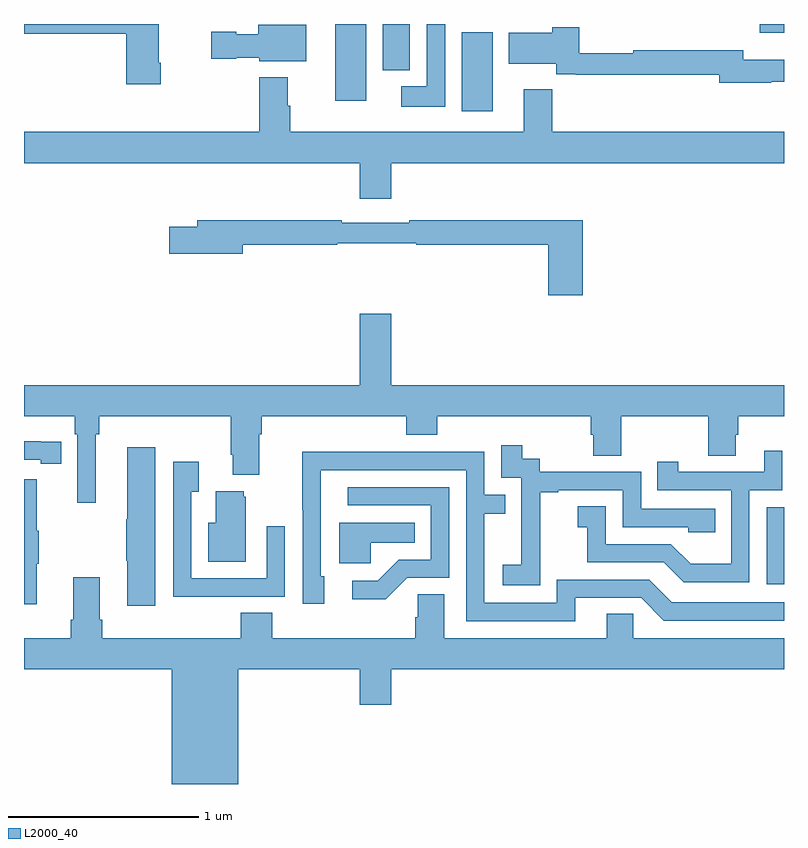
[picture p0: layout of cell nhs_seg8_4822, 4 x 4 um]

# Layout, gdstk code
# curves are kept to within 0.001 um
import gdstk
lib = gdstk.Library(unit=1e-6, precision=1e-09)
def R(c, l, rs):  # rectangles x0, y0, x1, y1
    for r in rs: c.add(gdstk.rectangle(r[:2], r[2:], *l))
def P(c, l, *ps):  # polygons
    for p in ps: c.add(gdstk.Polygon(p, *l))
L2000_40 = (2000, 40)

nhs_seg8_4822 = lib.new_cell('nhs_seg8_4822')
R(nhs_seg8_4822, L2000_40, [(406.908,1112.952,407,1113.357), (405.305,1115.442,405.466,1115.857), (404.639,1115.496,404.8,1115.9), (404.888,1115.657,405.031,1115.9), (406.872,1115.855,407,1115.9)])
P(nhs_seg8_4822, L2000_40, [(403.721,1115.695),(403.708,1115.695),(403.708,1115.9),(403,1115.9),(403,1115.848),(403.538,1115.848),(403.538,1115.583),(403.721,1115.583)],
  [(405.216,1115.9),(405.12,1115.9),(405.12,1115.572),(404.985,1115.572),(404.985,1115.465),(405.216,1115.465)],
  [(404.485,1115.896),(404.234,1115.896),(404.234,1115.845),(404.118,1115.845),(404.118,1115.858),(403.986,1115.858),(403.986,1115.716),(404.118,1115.716),(404.118,1115.723),(404.238,1115.723),(404.238,1115.705),(404.485,1115.705)],
  [(406.934,1115.595),(407,1115.595),(407,1115.713),(406.786,1115.713),(406.786,1115.762),(406.206,1115.762),(406.206,1115.745),(405.923,1115.745),(405.923,1115.884),(405.781,1115.884),(405.781,1115.854),(405.551,1115.854),(405.551,1115.69),(405.801,1115.69),(405.801,1115.635),(405.904,1115.635),(405.904,1115.634),(406.658,1115.634),(406.658,1115.591),(406.934,1115.591)],
  [(404.932,1115.168),(407,1115.168),(407,1115.332),(405.781,1115.332),(405.781,1115.557),(405.629,1115.557),(405.629,1115.332),(404.402,1115.332),(404.402,1115.471),(404.389,1115.471),(404.389,1115.62),(404.237,1115.62),(404.237,1115.332),(403,1115.332),(403,1115.168),(404.768,1115.168),(404.768,1114.98),(404.932,1114.98)],
  [(405.941,1114.867),(405.028,1114.867),(405.028,1114.854),(404.672,1114.854),(404.672,1114.867),(403.913,1114.867),(403.913,1114.833),(403.764,1114.833),(403.764,1114.691),(404.152,1114.691),(404.152,1114.738),(404.648,1114.738),(404.648,1114.746),(405.065,1114.746),(405.065,1114.738),(405.758,1114.738),(405.758,1114.473),(405.941,1114.473)],
  [(403.378,1113.74),(403.397,1113.74),(403.397,1113.836),(404.087,1113.836),(404.087,1113.634),(404.099,1113.634),(404.099,1113.527),(404.239,1113.527),(404.239,1113.74),(404.252,1113.74),(404.252,1113.836),(405.011,1113.836),(405.011,1113.737),(405.176,1113.737),(405.176,1113.836),(405.983,1113.836),(405.983,1113.738),(405.995,1113.738),(405.995,1113.628),(406.143,1113.628),(406.143,1113.836),(406.6,1113.836),(406.6,1113.628),(406.747,1113.628),(406.747,1113.738),(406.76,1113.738),(406.76,1113.836),(407,1113.836),(407,1114),(404.932,1114),(404.932,1114.375),(404.768,1114.375),(404.768,1114),(403,1114),(403,1113.836),(403.268,1113.836),(403.268,1113.74),(403.281,1113.74),(403.281,1113.381),(403.378,1113.381)],
  [(403.196,1113.702),(403.088,1113.702),(403.088,1113.703),(403,1113.703),(403,1113.606),(403.088,1113.606),(403.088,1113.586),(403.196,1113.586)],
  [(405.717,1113.151),(405.716,1113.151),(405.716,1113.435),(405.811,1113.435),(405.811,1113.447),(406.152,1113.447),(406.152,1113.252),(406.497,1113.252),(406.497,1113.225),(406.637,1113.225),(406.637,1113.348),(406.248,1113.348),(406.248,1113.543),(405.714,1113.543),(405.714,1113.612),(405.622,1113.612),(405.622,1113.682),(405.513,1113.682),(405.513,1113.513),(405.618,1113.513),(405.618,1113.284),(405.617,1113.284),(405.617,1113.055),(405.519,1113.055),(405.519,1112.945),(405.717,1112.945)],
  [(403.69,1113.673),(403.544,1113.673),(403.544,1113.293),(403.537,1113.293),(403.537,1113.076),(403.544,1113.076),(403.544,1112.838),(403.69,1112.838)],
  [(406.818,1113.447),(406.992,1113.447),(406.992,1113.655),(406.895,1113.655),(406.895,1113.543),(406.444,1113.543),(406.444,1113.595),(406.333,1113.595),(406.333,1113.447),(406.722,1113.447),(406.722,1113.058),(406.508,1113.058),(406.404,1113.162),(406.062,1113.162),(406.062,1113.361),(405.915,1113.361),(405.915,1113.251),(405.964,1113.251),(405.964,1113.066),(406.367,1113.066),(406.472,1112.961),(406.818,1112.961)],
  [(405.901,1112.88),(406.248,1112.88),(406.368,1112.76),(407,1112.76),(407,1112.856),(406.41,1112.856),(406.29,1112.976),(405.804,1112.976),(405.804,1112.853),(405.423,1112.853),(405.423,1113.322),(405.533,1113.322),(405.533,1113.423),(405.423,1113.423),(405.423,1113.648),(404.927,1113.648),(404.927,1113.65),(404.464,1113.65),(404.464,1113.343),(404.466,1113.343),(404.466,1112.85),(404.581,1112.85),(404.581,1112.994),(404.562,1112.994),(404.563,1113.552),(405.327,1113.552),(405.327,1112.757),(405.901,1112.757)],
  [(404.057,1112.886),(404.373,1112.886),(404.373,1113.256),(404.277,1113.256),(404.277,1112.982),(403.881,1112.982),(403.881,1113.439),(403.921,1113.439),(403.921,1113.595),(403.785,1113.595),(403.785,1112.885),(404.057,1112.885)],
  [(403.067,1113.059),(403.078,1113.059),(403.078,1113.233),(403.067,1113.233),(403.067,1113.505),(403,1113.505),(403,1112.847),(403.067,1112.847)],
  [(405.018,1112.985),(405.237,1112.985),(405.237,1113.462),(404.703,1113.462),(404.703,1113.366),(405.141,1113.366),(405.141,1113.081),(404.972,1113.081),(404.861,1112.97),(404.727,1112.97),(404.727,1112.873),(404.905,1112.873)],
  [(404.167,1113.411),(404.156,1113.411),(404.156,1113.442),(404.009,1113.442),(404.009,1113.274),(403.97,1113.274),(403.97,1113.071),(404.167,1113.071)],
  [(404.826,1113.17),(405.056,1113.17),(405.056,1113.274),(404.66,1113.274),(404.66,1113.062),(404.826,1113.062)],
  [(404.128,1112.504),(404.768,1112.504),(404.768,1112.316),(404.932,1112.316),(404.932,1112.504),(407,1112.504),(407,1112.668),(406.206,1112.668),(406.206,1112.795),(406.067,1112.795),(406.067,1112.668),(405.211,1112.668),(405.211,1112.9),(405.072,1112.9),(405.072,1112.777),(405.059,1112.777),(405.059,1112.668),(404.306,1112.668),(404.306,1112.801),(404.141,1112.801),(404.141,1112.668),(403.412,1112.668),(403.412,1112.764),(403.399,1112.764),(403.399,1112.989),(403.259,1112.989),(403.259,1112.764),(403.247,1112.764),(403.247,1112.668),(403,1112.668),(403,1112.504),(403.778,1112.504),(403.778,1111.9),(404.128,1111.9)])

lib.write_gds('nhs_seg8_4822.gds')
